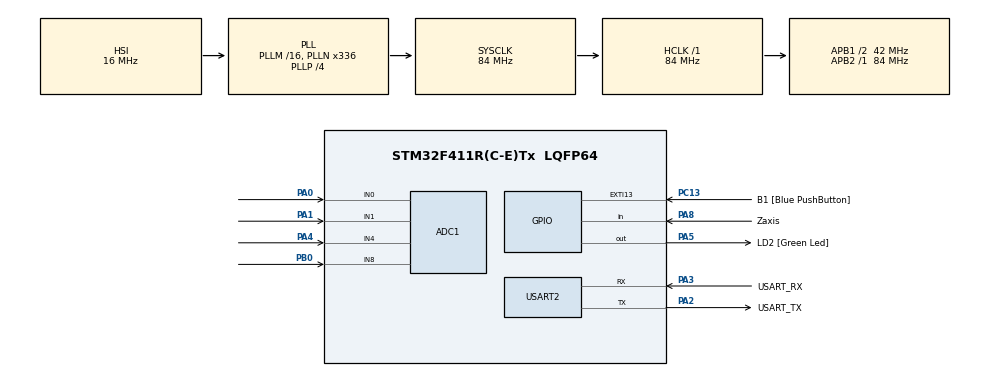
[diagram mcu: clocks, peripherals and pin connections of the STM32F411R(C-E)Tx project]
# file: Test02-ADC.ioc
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ADC1.Channel-0\#ChannelRegularConversion=ADC_CHANNEL_4
ADC1.Channel-1\#ChannelRegularConversion=ADC_CHANNEL_8
ADC1.DMAContinuousRequests=ENABLE
ADC1.DiscontinuousConvMode=ENABLE
ADC1.ExternalTrigConv=ADC_EXTERNALTRIGCONV_T3_TRGO
ADC1.ExternalTrigConvEdge=ADC_EXTERNALTRIGCONVEDGE_FALLING
ADC1.NbrOfConversion=2
ADC1.NbrOfConversionFlag=1
ADC1.Rank-0\#ChannelRegularConversion=1
ADC1.Rank-1\#ChannelRegularConversion=2
ADC1.SamplingTime-0\#ChannelRegularConversion=ADC_SAMPLETIME_3CYCLES
ADC1.SamplingTime-1\#ChannelRegularConversion=ADC_SAMPLETIME_3CYCLES
ADC1.ScanConvMode=ENABLE
ADC1.master=1
Dma.ADC1.0.Direction=DMA_PERIPH_TO_MEMORY
Dma.ADC1.0.FIFOMode=DMA_FIFOMODE_DISABLE
Dma.ADC1.0.Instance=DMA2_Stream0
Dma.ADC1.0.MemDataAlignment=DMA_MDATAALIGN_HALFWORD
Dma.ADC1.0.MemInc=DMA_MINC_ENABLE
Dma.ADC1.0.Mode=DMA_CIRCULAR
Dma.ADC1.0.PeriphDataAlignment=DMA_PDATAALIGN_HALFWORD
Dma.ADC1.0.PeriphInc=DMA_PINC_DISABLE
Dma.ADC1.0.Priority=DMA_PRIORITY_LOW
Dma.Request0=ADC1
Mcu.Family=STM32F4
Mcu.Name=STM32F411R(C-E)Tx
Mcu.Package=LQFP64
NVIC.DMA2_Stream0_IRQn=true\:0\:0\:false\:false\:true\:false\:true\:true
NVIC.PriorityGroup=NVIC_PRIORITYGROUP_0
PA0-WKUP.Signal=ADCx_IN0
PA1.Signal=ADCx_IN1
PA13.GPIO_Label=TMS
PA13.Mode=Serial_Wire
PA13.Signal=SYS_JTMS-SWDIO
PA14.GPIO_Label=TCK
PA14.Mode=Serial_Wire
PA14.Signal=SYS_JTCK-SWCLK
PA2.GPIO_Label=USART_TX
PA2.Mode=Asynchronous
PA2.Signal=USART2_TX
PA3.GPIO_Label=USART_RX
PA3.Mode=Asynchronous
PA3.Signal=USART2_RX
PA4.Signal=ADCx_IN4
PA5.GPIO_Label=LD2 [Green Led]
PA5.Signal=GPIO_Output
PA8.GPIO_Label=Zaxis
PA8.GPIO_PuPd=GPIO_PULLUP
PA8.Signal=GPIO_Input
PB0.Signal=ADCx_IN8
PB3.GPIO_Label=SWO
PB3.Signal=SYS_JTDO-SWO
PC13-ANTI_TAMP.GPIO_Label=B1 [Blue PushButton]
PC13-ANTI_TAMP.GPIO_ModeDefaultEXTI=GPIO_MODE_IT_FALLING
PC13-ANTI_TAMP.Signal=GPXTI13
PC14-OSC32_IN.Mode=LSE-External-Oscillator
PC14-OSC32_IN.Signal=RCC_OSC32_IN
PC15-OSC32_OUT.Mode=LSE-External-Oscillator
PC15-OSC32_OUT.Signal=RCC_OSC32_OUT
PH0\ -\ OSC_IN.Mode=HSE-External-Clock-Source
PH0\ -\ OSC_IN.Signal=RCC_OSC_IN
PH1\ -\ OSC_OUT.Mode=HSE-External-Clock-Source
PH1\ -\ OSC_OUT.Signal=RCC_OSC_OUT
ProjectManager.HeapSize=0x200
ProjectManager.StackSize=0x400
ProjectManager.TargetToolchain=STM32CubeIDE
RCC.48MHZClocksFreq_Value=84000000
RCC.AHBFreq_Value=84000000
RCC.APB1CLKDivider=RCC_HCLK_DIV2
RCC.APB1Freq_Value=42000000
RCC.APB1TimFreq_Value=84000000
RCC.APB2Freq_Value=84000000
RCC.APB2TimFreq_Value=84000000
RCC.CortexFreq_Value=84000000
RCC.FLatency-AdvancedSettings=FLASH_LATENCY_2
RCC.HCLKFreq_Value=84000000
RCC.HSE_VALUE=8000000
RCC.HSI_VALUE=16000000
RCC.PLLN=336
RCC.PLLP=RCC_PLLP_DIV4
RCC.SYSCLKFreq_VALUE=84000000
RCC.SYSCLKSource=RCC_SYSCLKSOURCE_PLLCLK
RCC.VCOOutputFreq_Value=336000000
SH.ADCx_IN0.0=ADC1_IN0,IN0
SH.ADCx_IN1.0=ADC1_IN1,IN1
SH.ADCx_IN4.0=ADC1_IN4,IN4
SH.ADCx_IN8.0=ADC1_IN8,IN8
TIM3.Period=5000-1
TIM3.Prescaler=8400-1
TIM3.TIM_MasterOutputTrigger=TIM_TRGO_UPDATE
USART2.VirtualMode=VM_ASYNC
VP_TIM3_VS_ClockSourceINT.Mode=Internal
board=NUCLEO-F411RE

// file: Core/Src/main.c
/* USER CODE BEGIN Header */
/**
  ******************************************************************************
  * @file           : main.c
  * @brief          : Main program body
  ******************************************************************************
  * @attention
  *
  * Copyright (c) 2023 STMicroelectronics.
  * All rights reserved.
  *
  * This software is licensed under terms that can be found in the LICENSE file
  * in the root directory of this software component.
  * If no LICENSE file comes with this software, it is provided AS-IS.
  *
  ******************************************************************************
  */
/* USER CODE END Header */
#include "main.h"

ADC_HandleTypeDef hadc1;
DMA_HandleTypeDef hdma_adc1;

TIM_HandleTypeDef htim3;

UART_HandleTypeDef huart2;

/* USER CODE BEGIN PV */
#include "../../../myLib/myLib.c"
/* USER CODE END PV */

void SystemClock_Config(void);
static void MX_GPIO_Init(void);
static void MX_DMA_Init(void);
static void MX_USART2_UART_Init(void);
static void MX_ADC1_Init(void);
static void MX_TIM3_Init(void);

/* USER CODE BEGIN 0 */
void myDelay(int ms)
{
	for(int j = 0; j < ms; j++)
		for(int i = 0; i < 500; i++)
			noOp();
}
int GetAdcValue()
{
	 HAL_ADC_Start(&hadc1);					// start sampling
	 HAL_ADC_PollForConversion(&hadc1, 100);	// wait
	 int val = HAL_ADC_GetValue(&hadc1);		// Get
	 return val;
}
short int dValue[2];
int xValue = -1;
int yValue = -1;
int n = 0;
void noOp() {}
void HAL_ADC_ConvCpltCallback(ADC_HandleTypeDef *hadc)	// 1 time
{
	int Value = HAL_ADC_GetValue(&hadc1);		// Get
	if(n == 0) { xValue = Value; n++; }
	else
	{
		yValue = Value; n = 0;
		printf("(intr)X Value : %d\r\n", xValue);
		printf("(intr)Y Value : %d\r\n", yValue);
		printf("(intr)Z Value : %d\r\n\n", HAL_GPIO_ReadPin(Zaxis_GPIO_Port, Zaxis_Pin));
	}
//	for(int i = 0; i < 1000000; i++) noOp();
	myDelay(2000);
//	HAL_ADC_Start_IT(&hadc1);
}
/* USER CODE END 0 */

int main(void)
{

  /* MCU Configuration--------------------------------------------------------*/

  /* Reset of all peripherals, Initializes the Flash interface and the Systick. */
  HAL_Init();

  /* Configure the system clock */
  SystemClock_Config();

  /* Initialize all configured peripherals */
  MX_GPIO_Init();
  MX_DMA_Init();
  MX_USART2_UART_Init();
  MX_ADC1_Init();
  MX_TIM3_Init();
  /* USER CODE BEGIN 2 */
  HAL_TIM_Base_Start(&htim3);
  printf("\033[1J\033[1;1HPProgram Restart....\r\n");

//  htim2.Instance->CNT = 0;
//  for(int i = 0; i < 1000000; i++) noOp();
//  int tt = htim2.Instance->CNT;
//  printf("noOp function calling time : %d\r\n", tt);
  HAL_ADC_Start_DMA(&hadc1, (int *)dValue, 2);
  /* USER CODE END 2 */

  /* Infinite loop */
  while (1)
  {

    /* USER CODE BEGIN 3 */
		printf("X Value : %d\r\n", dValue[0]);
		printf("Y Value : %d\r\n", dValue[1]);
		printf("Z Value : %d\r\n\n", HAL_GPIO_ReadPin(Zaxis_GPIO_Port, Zaxis_Pin));
		HAL_Delay(500);
  }
  /* USER CODE END 3 */
}

void SystemClock_Config(void)
{
  RCC_OscInitTypeDef RCC_OscInitStruct = {0};
  RCC_ClkInitTypeDef RCC_ClkInitStruct = {0};

  /** Configure the main internal regulator output voltage
  */
  __HAL_RCC_PWR_CLK_ENABLE();
  __HAL_PWR_VOLTAGESCALING_CONFIG(PWR_REGULATOR_VOLTAGE_SCALE1);

  /** Initializes the RCC Oscillators according to the specified parameters
  * in the RCC_OscInitTypeDef structure.
  */
  RCC_OscInitStruct.OscillatorType = RCC_OSCILLATORTYPE_HSI;
  RCC_OscInitStruct.HSIState = RCC_HSI_ON;
  RCC_OscInitStruct.HSICalibrationValue = RCC_HSICALIBRATION_DEFAULT;
  RCC_OscInitStruct.PLL.PLLState = RCC_PLL_ON;
  RCC_OscInitStruct.PLL.PLLSource = RCC_PLLSOURCE_HSI;
  RCC_OscInitStruct.PLL.PLLM = 16;
  RCC_OscInitStruct.PLL.PLLN = 336;
  RCC_OscInitStruct.PLL.PLLP = RCC_PLLP_DIV4;
  RCC_OscInitStruct.PLL.PLLQ = 4;
  if (HAL_RCC_OscConfig(&RCC_OscInitStruct) != HAL_OK)
  {
    Error_Handler();
  }

  /** Initializes the CPU, AHB and APB buses clocks
  */
  RCC_ClkInitStruct.ClockType = RCC_CLOCKTYPE_HCLK|RCC_CLOCKTYPE_SYSCLK
                              |RCC_CLOCKTYPE_PCLK1|RCC_CLOCKTYPE_PCLK2;
  RCC_ClkInitStruct.SYSCLKSource = RCC_SYSCLKSOURCE_PLLCLK;
  RCC_ClkInitStruct.AHBCLKDivider = RCC_SYSCLK_DIV1;
  RCC_ClkInitStruct.APB1CLKDivider = RCC_HCLK_DIV2;
  RCC_ClkInitStruct.APB2CLKDivider = RCC_HCLK_DIV1;

  if (HAL_RCC_ClockConfig(&RCC_ClkInitStruct, FLASH_LATENCY_2) != HAL_OK)
  {
    Error_Handler();
  }
}

static void MX_ADC1_Init(void)
{

  ADC_ChannelConfTypeDef sConfig = {0};

  /** Configure the global features of the ADC (Clock, Resolution, Data Alignment and number of conversion)
  */
  hadc1.Instance = ADC1;
  hadc1.Init.ClockPrescaler = ADC_CLOCK_SYNC_PCLK_DIV4;
  hadc1.Init.Resolution = ADC_RESOLUTION_12B;
  hadc1.Init.ScanConvMode = ENABLE;
  hadc1.Init.ContinuousConvMode = DISABLE;
  hadc1.Init.DiscontinuousConvMode = ENABLE;
  hadc1.Init.NbrOfDiscConversion = 1;
  hadc1.Init.ExternalTrigConvEdge = ADC_EXTERNALTRIGCONVEDGE_FALLING;
  hadc1.Init.ExternalTrigConv = ADC_EXTERNALTRIGCONV_T3_TRGO;
  hadc1.Init.DataAlign = ADC_DATAALIGN_RIGHT;
  hadc1.Init.NbrOfConversion = 2;
  hadc1.Init.DMAContinuousRequests = ENABLE;
  hadc1.Init.EOCSelection = ADC_EOC_SINGLE_CONV;
  if (HAL_ADC_Init(&hadc1) != HAL_OK)
  {
    Error_Handler();
  }

  /** Configure for the selected ADC regular channel its corresponding rank in the sequencer and its sample time.
  */
  sConfig.Channel = ADC_CHANNEL_4;
  sConfig.Rank = 1;
  sConfig.SamplingTime = ADC_SAMPLETIME_3CYCLES;
  if (HAL_ADC_ConfigChannel(&hadc1, &sConfig) != HAL_OK)
  {
    Error_Handler();
  }

  /** Configure for the selected ADC regular channel its corresponding rank in the sequencer and its sample time.
  */
  sConfig.Channel = ADC_CHANNEL_8;
  sConfig.Rank = 2;
  if (HAL_ADC_ConfigChannel(&hadc1, &sConfig) != HAL_OK)
  {
    Error_Handler();
  }

}

static void MX_TIM3_Init(void)
{

  TIM_ClockConfigTypeDef sClockSourceConfig = {0};
  TIM_MasterConfigTypeDef sMasterConfig = {0};

  htim3.Instance = TIM3;
  htim3.Init.Prescaler = 8400-1;
  htim3.Init.CounterMode = TIM_COUNTERMODE_UP;
  htim3.Init.Period = 5000-1;
  htim3.Init.ClockDivision = TIM_CLOCKDIVISION_DIV1;
  htim3.Init.AutoReloadPreload = TIM_AUTORELOAD_PRELOAD_DISABLE;
  if (HAL_TIM_Base_Init(&htim3) != HAL_OK)
  {
    Error_Handler();
  }
  sClockSourceConfig.ClockSource = TIM_CLOCKSOURCE_INTERNAL;
  if (HAL_TIM_ConfigClockSource(&htim3, &sClockSourceConfig) != HAL_OK)
  {
    Error_Handler();
  }
  sMasterConfig.MasterOutputTrigger = TIM_TRGO_UPDATE;
  sMasterConfig.MasterSlaveMode = TIM_MASTERSLAVEMODE_DISABLE;
  if (HAL_TIMEx_MasterConfigSynchronization(&htim3, &sMasterConfig) != HAL_OK)
  {
    Error_Handler();
  }

}

static void MX_USART2_UART_Init(void)
{

  huart2.Instance = USART2;
  huart2.Init.BaudRate = 115200;
  huart2.Init.WordLength = UART_WORDLENGTH_8B;
  huart2.Init.StopBits = UART_STOPBITS_1;
  huart2.Init.Parity = UART_PARITY_NONE;
  huart2.Init.Mode = UART_MODE_TX_RX;
  huart2.Init.HwFlowCtl = UART_HWCONTROL_NONE;
  huart2.Init.OverSampling = UART_OVERSAMPLING_16;
  if (HAL_UART_Init(&huart2) != HAL_OK)
  {
    Error_Handler();
  }

}

static void MX_DMA_Init(void)
{

  /* DMA controller clock enable */
  __HAL_RCC_DMA2_CLK_ENABLE();

  /* DMA interrupt init */
  /* DMA2_Stream0_IRQn interrupt configuration */
  HAL_NVIC_SetPriority(DMA2_Stream0_IRQn, 0, 0);
  HAL_NVIC_EnableIRQ(DMA2_Stream0_IRQn);

}

static void MX_GPIO_Init(void)
{
  GPIO_InitTypeDef GPIO_InitStruct = {0};

  /* GPIO Ports Clock Enable */
  __HAL_RCC_GPIOC_CLK_ENABLE();
  __HAL_RCC_GPIOH_CLK_ENABLE();
  __HAL_RCC_GPIOA_CLK_ENABLE();
  __HAL_RCC_GPIOB_CLK_ENABLE();

  /*Configure GPIO pin Output Level */
  HAL_GPIO_WritePin(LD2_GPIO_Port, LD2_Pin, GPIO_PIN_RESET);

  /*Configure GPIO pin : B1_Pin */
  GPIO_InitStruct.Pin = B1_Pin;
  GPIO_InitStruct.Mode = GPIO_MODE_IT_FALLING;
  GPIO_InitStruct.Pull = GPIO_NOPULL;
  HAL_GPIO_Init(B1_GPIO_Port, &GPIO_InitStruct);

  /*Configure GPIO pin : LD2_Pin */
  GPIO_InitStruct.Pin = LD2_Pin;
  GPIO_InitStruct.Mode = GPIO_MODE_OUTPUT_PP;
  GPIO_InitStruct.Pull = GPIO_NOPULL;
  GPIO_InitStruct.Speed = GPIO_SPEED_FREQ_LOW;
  HAL_GPIO_Init(LD2_GPIO_Port, &GPIO_InitStruct);

  /*Configure GPIO pin : Zaxis_Pin */
  GPIO_InitStruct.Pin = Zaxis_Pin;
  GPIO_InitStruct.Mode = GPIO_MODE_INPUT;
  GPIO_InitStruct.Pull = GPIO_PULLUP;
  HAL_GPIO_Init(Zaxis_GPIO_Port, &GPIO_InitStruct);

}

void Error_Handler(void)
{
  __disable_irq();
  while (1)
  {
  }
}
